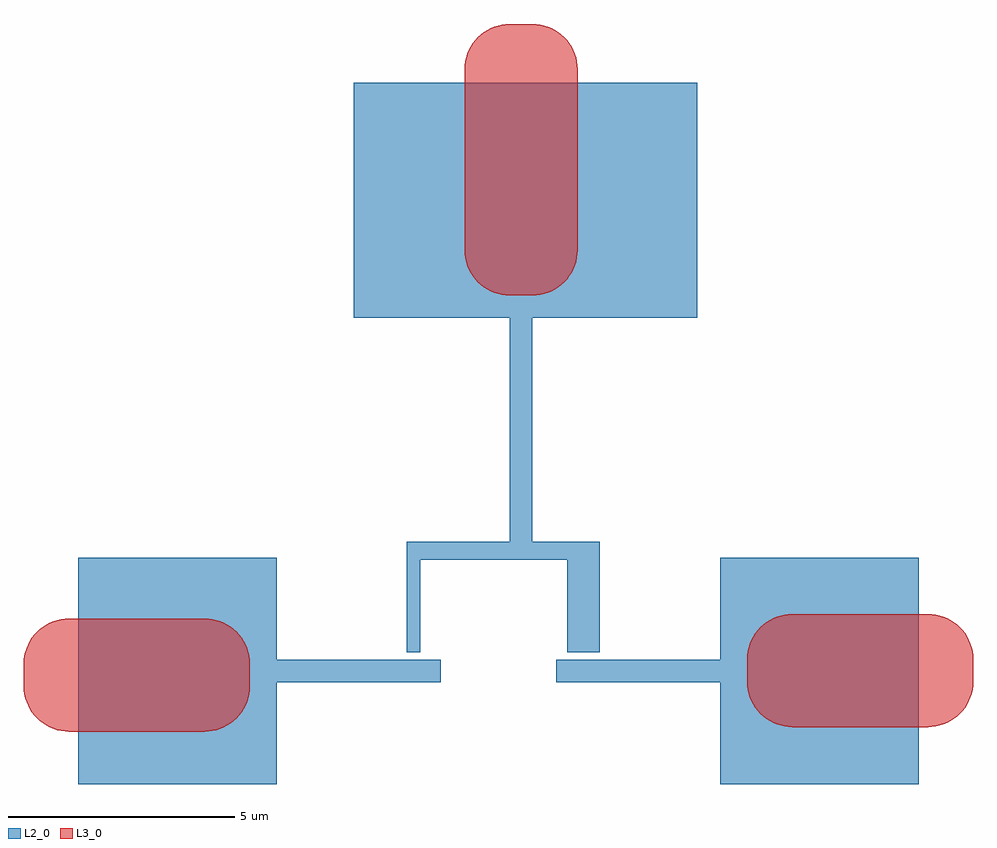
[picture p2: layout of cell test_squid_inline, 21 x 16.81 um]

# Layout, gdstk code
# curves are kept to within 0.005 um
import gdstk
lib = gdstk.Library(unit=1e-6, precision=1e-10)
def R(c, l, rs):  # rectangles x0, y0, x1, y1
    for r in rs: c.add(gdstk.rectangle(r[:2], r[2:], *l))
def P(c, l, *ps):  # polygons
    for p in ps: c.add(gdstk.Polygon(p, *l))
L2_0 = (2, 0)
L3_0 = (3, 0)

test_squid_inline = lib.new_cell('test_squid_inline')
R(test_squid_inline, L2_0, [(-9.8,-18.31,-5.4,-13.31), (4.4,-18.31,8.8,-13.31), (-5.4,-16.06,-1.7798,-15.56), (0.7803,-16.06,4.4,-15.56), (-2.5285,-15.4,-2.2285,-13.35), (1.018,-15.4,1.738,-13.35), (-2.5285,-13.35,1.738,-12.95), (-0.25,-12.95,0.25,-8), (-3.7,-8,3.9,-2.8)])
P(test_squid_inline, L3_0, [(5,-15.55),(5,-16.05),(5.0152,-16.2236),(5.0603,-16.392),(5.134,-16.55),(5.1808,-16.6236),(5.2929,-16.7571),(5.4264,-16.8692),(5.5774,-16.9563),(5.658,-16.9897),(5.8264,-17.0348),(5.9128,-17.0462),(9,-17.05),(9.0872,-17.0462),(9.2588,-17.0159),(9.4226,-16.9563),(9.5736,-16.8692),(9.7071,-16.7571),(9.766,-16.6928),(9.866,-16.55),(9.9397,-16.392),(9.9848,-16.2236),(9.9962,-16.1372),(9.9962,-15.4628),(9.9848,-15.3764),(9.9397,-15.208),(9.866,-15.05),(9.8192,-14.9764),(9.7071,-14.8429),(9.5736,-14.7308),(9.4226,-14.6437),(9.342,-14.6103),(9.1736,-14.5652),(9.0872,-14.5538),(6,-14.55),(5.9128,-14.5538),(5.7412,-14.5841),(5.5774,-14.6437),(5.4264,-14.7308),(5.2929,-14.8429),(5.1808,-14.9764),(5.0937,-15.1274),(5.0603,-15.208),(5.0152,-15.3764)],
  [(-11,-15.65),(-11,-16.15),(-10.9848,-16.3236),(-10.9397,-16.492),(-10.866,-16.65),(-10.8192,-16.7236),(-10.7071,-16.8571),(-10.5736,-16.9692),(-10.4226,-17.0563),(-10.342,-17.0897),(-10.1736,-17.1348),(-10.0872,-17.1462),(-7,-17.15),(-6.9128,-17.1462),(-6.7412,-17.1159),(-6.5774,-17.0563),(-6.4264,-16.9692),(-6.2929,-16.8571),(-6.234,-16.7928),(-6.134,-16.65),(-6.0603,-16.492),(-6.0152,-16.3236),(-6.0038,-16.2372),(-6.0038,-15.5628),(-6.0152,-15.4764),(-6.0603,-15.308),(-6.134,-15.15),(-6.1808,-15.0764),(-6.2929,-14.9429),(-6.4264,-14.8308),(-6.5774,-14.7437),(-6.658,-14.7103),(-6.8264,-14.6652),(-6.9128,-14.6538),(-10,-14.65),(-10.0872,-14.6538),(-10.2588,-14.6841),(-10.4226,-14.7437),(-10.5736,-14.8308),(-10.7071,-14.9429),(-10.8192,-15.0764),(-10.9063,-15.2274),(-10.9397,-15.308),(-10.9848,-15.4764)],
  [(-1.25,-2.5),(-1.25,-6.5),(-1.2348,-6.6736),(-1.1897,-6.842),(-1.1563,-6.9226),(-1.0692,-7.0736),(-0.9571,-7.2071),(-0.8236,-7.3192),(-0.6726,-7.4063),(-0.592,-7.4397),(-0.4236,-7.4848),(-0.25,-7.5),(0.3372,-7.4962),(0.4236,-7.4848),(0.592,-7.4397),(0.6726,-7.4063),(0.8236,-7.3192),(0.9571,-7.2071),(1.0692,-7.0736),(1.1563,-6.9226),(1.1897,-6.842),(1.2348,-6.6736),(1.2462,-6.5872),(1.25,-2.5),(1.2348,-2.3264),(1.1897,-2.158),(1.1563,-2.0774),(1.0692,-1.9264),(0.9571,-1.7929),(0.8236,-1.6808),(0.6726,-1.5937),(0.592,-1.5603),(0.4236,-1.5152),(0.3372,-1.5038),(-0.25,-1.5),(-0.4236,-1.5152),(-0.592,-1.5603),(-0.75,-1.634),(-0.8928,-1.734),(-1.016,-1.8572),(-1.116,-2),(-1.1897,-2.158),(-1.2348,-2.3264)])

lib.write_gds('test_squid_inline.gds')
